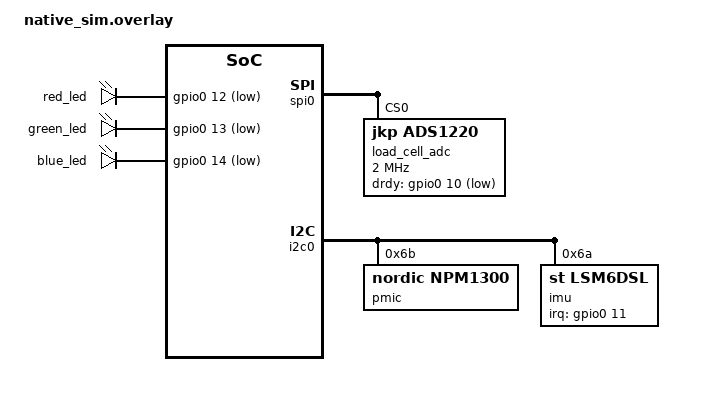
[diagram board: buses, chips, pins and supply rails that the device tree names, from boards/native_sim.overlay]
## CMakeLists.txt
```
# SPDX-License-Identifier: Apache-2.0

cmake_minimum_required(VERSION 3.20.0)

find_package(Zephyr REQUIRED HINTS $ENV{ZEPHYR_BASE})
project(app_main)

# Application code builds warning-free; dependencies keep their own flags.
# -Wno-psabi: GCC's note that Arm argument passing for some types (e.g. std::span)
# changed in GCC 7.1. It only matters when linking objects built by GCC 6 or older.
target_compile_options(app PRIVATE -Werror -Wno-psabi)

target_sources(app PRIVATE src/main.cpp)

# zbus channels: the contracts shared by every layer
add_subdirectory_ifdef(CONFIG_ZBUS src/channels)

# Modules: pure logic, no Zephyr
add_subdirectory(src/modules/calibration)
add_subdirectory(src/modules/progressor)

# Services: one subsystem or peripheral each, no thread of their own
add_subdirectory_ifdef(CONFIG_APP_IDENTITY_SVC src/services/identity_svc)
add_subdirectory_ifdef(CONFIG_APP_LOAD_CELL_SVC src/services/load_cell_svc)
add_subdirectory_ifdef(CONFIG_APP_BLE_SVC src/services/ble_svc)
add_subdirectory_ifdef(CONFIG_APP_PMIC_SVC src/services/pmic_svc)
add_subdirectory_ifdef(CONFIG_APP_MOTION_SVC src/services/motion_svc)
add_subdirectory_ifdef(CONFIG_APP_LED_SVC src/services/led_svc)

# Managers: own a thread and an event queue; the only callers of single-threaded services
add_subdirectory_ifdef(CONFIG_APP_MEASUREMENT_MANAGER src/managers/measurement_manager)
add_subdirectory_ifdef(CONFIG_APP_POWER_MANAGER src/managers/power_manager)

# Debug builds only (debug.conf)
add_subdirectory_ifdef(CONFIG_APP_DEBUG_SHELL src/debug_shell)
add_subdirectory_ifdef(CONFIG_APP_EMULATED_LOAD src/emulated_load)
```

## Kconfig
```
# SPDX-License-Identifier: Apache-2.0

menu "Zephyr"
source "Kconfig.zephyr"
endmenu

module = APP_MAIN
module-str = app_main
source "subsys/logging/Kconfig.template.log_config"

menu "Services"
rsource "src/services/identity_svc/Kconfig"
rsource "src/services/load_cell_svc/Kconfig"
rsource "src/services/ble_svc/Kconfig"
rsource "src/services/pmic_svc/Kconfig"
rsource "src/services/motion_svc/Kconfig"
rsource "src/services/led_svc/Kconfig"
endmenu

menu "Managers"
rsource "src/managers/measurement_manager/Kconfig"
rsource "src/managers/power_manager/Kconfig"
endmenu

rsource "src/debug_shell/Kconfig"
rsource "src/emulated_load/Kconfig"
```

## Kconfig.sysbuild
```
# SPDX-License-Identifier: Apache-2.0
#
# Sysbuild options. MCUboot on the XIAO only: native_sim builds have no bootloader.
# Images are signed with MCUboot's development key unless SB_CONFIG_BOOT_SIGNATURE_KEY_FILE
# names another (CI's release builds).

choice BOOTLOADER
	default BOOTLOADER_MCUBOOT if BOARD_XIAO_NRF54LM20A
endchoice

source "share/sysbuild/Kconfig"
```

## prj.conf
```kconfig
# C++23 without exceptions or RTTI. Full libstdc++ provides <expected>, <span>, ...
CONFIG_CPP=y
CONFIG_STD_CPP23=y
CONFIG_REQUIRES_FULL_LIBCPP=y
CONFIG_CPP_EXCEPTIONS=n
CONFIG_CPP_RTTI=n

# Settings (calibration, sample rate, device ID) in the storage partition. ZMS
# suits RRAM, which needs no erase.
CONFIG_FLASH=y
CONFIG_FLASH_MAP=y
CONFIG_ZMS=y
CONFIG_SETTINGS=y
CONFIG_SETTINGS_ZMS=y

# Seeds the random number generator (the device ID on first boot).
CONFIG_ENTROPY_GENERATOR=y

CONFIG_ZBUS=y

# The nPM1300 PMIC: its charger is a sensor driver (and configures charging at
# boot); ship mode goes through the regulator API.
CONFIG_SENSOR=y
CONFIG_REGULATOR=y

# The status LED (gpio-leds), and on the XIAO the nPM1300's LED pins.
CONFIG_LED=y

# The IMU (LSM6DS3TR-C, Zephyr's LSM6DSL driver with our motion-trigger patch)
# detects motion; its trigger handler runs on the system work queue.
CONFIG_LSM6DSL_TRIGGER_GLOBAL_THREAD=y

# Bluetooth LE peripheral, one connection, open (unpaired) GATT access, as a
# Tindeq Progressor. The name is set at boot from the device ID.
CONFIG_BT=y
CONFIG_BT_PERIPHERAL=y
CONFIG_BT_MAX_CONN=1
CONFIG_BT_DEVICE_NAME_DYNAMIC=y
CONFIG_BT_DEVICE_NAME="Progressor"

# Throughput for 1000 samples/s: up to 30 samples per notification (ATT MTU
# 247 in one 251-byte link-layer packet), on the 2M PHY. The stack asks for the
# longer packets and the 2M PHY on connection, and exchanges the MTU.
CONFIG_BT_L2CAP_TX_MTU=247
CONFIG_BT_BUF_ACL_RX_SIZE=251
CONFIG_BT_BUF_ACL_TX_SIZE=251
# Matches the controller's per-connection count (BT_CTLR_SDC_TX_PACKET_COUNT).
CONFIG_BT_BUF_ACL_TX_COUNT=3
# ATT buffers: the data point's notifications plus ble_svc's reserve (ble_svc.cpp).
CONFIG_BT_ATT_TX_COUNT=12
CONFIG_BT_AUTO_PHY_PERIPHERAL_2M=y
# Ask for the larger MTU ourselves: not every phone does (seen with the Tindeq
# app: 23 bytes, 2 samples per notification). The exchange is a GATT client
# procedure, which a peripheral may run too.
CONFIG_BT_GATT_CLIENT=y
CONFIG_BT_GATT_AUTO_UPDATE_MTU=y

# Standard Device Information and Battery services, for generic apps such as
# nRF Connect (the Tindeq app uses the Progressor service). The advertised name
# stays Progressor_NNNN, which the Tindeq app looks for. Firmware revision:
# app_main/VERSION.
CONFIG_BT_DIS=y
CONFIG_BT_DIS_MANUF_NAME_STR="JustKeepPulling"
CONFIG_BT_DIS_MODEL_NUMBER_STR="JustKeepPulling"
CONFIG_BT_DIS_FW_REV=y
CONFIG_BT_DIS_HW_REV=y
CONFIG_BT_DIS_PNP=n
CONFIG_BT_BAS=y

# Connection parameters once connected, as Crimpdeq when not measuring: 30-50 ms,
# latency 4, 4 s timeout. The stack requests them 5 s after connecting; the
# measurement manager asks for 15 ms while streaming.
CONFIG_BT_PERIPHERAL_PREF_MIN_INT=24
CONFIG_BT_PERIPHERAL_PREF_MAX_INT=40
CONFIG_BT_PERIPHERAL_PREF_LATENCY=4
CONFIG_BT_PERIPHERAL_PREF_TIMEOUT=400

# Name shown in the NCS boot banner
CONFIG_NCS_APPLICATION_BOOT_BANNER_STRING="app_main"

# Application components
CONFIG_APP_IDENTITY_SVC=y
CONFIG_APP_LOAD_CELL_SVC=y
CONFIG_APP_BLE_SVC=y
CONFIG_APP_PMIC_SVC=y
CONFIG_APP_MOTION_SVC=y
CONFIG_APP_LED_SVC=y
CONFIG_APP_MEASUREMENT_MANAGER=y
CONFIG_APP_POWER_MANAGER=y
```

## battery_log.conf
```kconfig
# Battery tests, on top of debug.conf: -DEXTRA_CONF_FILE="debug.conf;battery_log.conf"
# Every 5 s reading is logged (for scripts/battery_log.py), and the device never
# sleeps when idle.
CONFIG_APP_POWER_MANAGER_LOG_LEVEL_DBG=y
CONFIG_APP_POWER_MANAGER_IDLE_TIMEOUT_S=86400
CONFIG_APP_POWER_MANAGER_CONNECTED_IDLE_TIMEOUT_S=86400
```

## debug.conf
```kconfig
# Debug build: west build ... -- -DEXTRA_CONF_FILE=debug.conf
# Adds logging and the shell (on the console UART) with the "jkp" debug
# commands. The default build, without this file, is the release build: no
# logging and no shell.
CONFIG_LOG=y
CONFIG_SHELL=y
CONFIG_ASSERT=y
# The reset cause, logged at boot.
CONFIG_HWINFO=y
# A stack overflow faults instead of corrupting the memory next to it.
CONFIG_HW_STACK_PROTECTION=y

# The shell prints log messages itself; the console log backends would print each twice.
CONFIG_LOG_BACKEND_UART=n
CONFIG_LOG_BACKEND_NATIVE_POSIX=n
```

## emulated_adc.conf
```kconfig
CONFIG_EMUL=y
CONFIG_APP_EMULATED_LOAD=y
```

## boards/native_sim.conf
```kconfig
# The emulated ADS1220 (SPI emulator bus).
CONFIG_EMUL=y

# The default 100 Hz tick is too coarse to emulate 1000 conversions/s.
CONFIG_SYS_CLOCK_TICKS_PER_SEC=100000

# Bumble's virtual controller does not support host-to-controller ACL flow control.
CONFIG_BT_HCI_ACL_FLOW_CONTROL=n

# Nor the PHY update procedure: the controller never answers, which the host treats as fatal.
CONFIG_BT_AUTO_PHY_PERIPHERAL_NONE=y

# Hardware revision in the Device Information service.
CONFIG_BT_DIS_HW_REV_STR="native_sim"
```

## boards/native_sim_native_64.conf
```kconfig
# The emulated ADS1220 (SPI emulator bus).
CONFIG_EMUL=y

# The default 100 Hz tick is too coarse to emulate 1000 conversions/s.
CONFIG_SYS_CLOCK_TICKS_PER_SEC=100000

# Bumble's virtual controller does not support host-to-controller ACL flow control.
CONFIG_BT_HCI_ACL_FLOW_CONTROL=n

# Nor the PHY update procedure: the controller never answers, which the host treats as fatal.
CONFIG_BT_AUTO_PHY_PERIPHERAL_NONE=y
```

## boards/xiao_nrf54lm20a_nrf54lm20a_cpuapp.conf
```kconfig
CONFIG_FPU=y
CONFIG_FPU_SHARING=y

# Nordic's fuel gauge on the nPM1300's readings (power_manager); Arm builds only.
CONFIG_NRF_FUEL_GAUGE=y

# The board's pwm-leds would take the RGB LED's pins from gpio-leds.
CONFIG_LED_PWM=n

# SENSOR (for the PMIC's charger) also enables Zephyr's die temperature driver by default. Not used here.
CONFIG_TEMP_NRF5=n

# +9 dBm, as Crimpdeq: its measurements showed higher power coupling into the
# ADC as single-sample spikes (+20 dBm up to 1.4 kg, +9 dBm up to 0.12 kg, 0 dBm
# within the noise). Revisit once measured on this board.
CONFIG_BT_CTLR_TX_PWR_ANTENNA=9

# As Seeed's board: the nPM1300 regulators start after the charger (sensor
# init, 90), which raises the USB current limit from 100 mA. LDO1's inrush
# would otherwise trip the PMIC on USB power and the board would reset in a loop.
CONFIG_REGULATOR_NPM13XX_COMMON_INIT_PRIORITY=91
CONFIG_REGULATOR_NPM13XX_INIT_PRIORITY=92

# Idle sleep: System OFF, woken by the IMU's motion interrupt.
CONFIG_POWEROFF=y

# Hardware revision in the Device Information service.
CONFIG_BT_DIS_HW_REV_STR="XIAO nRF54LM20A"

# Firmware updates over Bluetooth (SMP, e.g. nRF Connect Device Manager), into
# MCUboot's second slot. Only images signed with our key are installed.
CONFIG_NCS_SAMPLE_MCUMGR_BT_OTA_DFU=y
# Not erasing the settings (calibration, device ID) from over the air.
CONFIG_MCUMGR_GRP_ZBASIC_STORAGE_ERASE=n
```

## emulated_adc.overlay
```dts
/* SPDX-License-Identifier: Apache-2.0 */

/* The ADS1220 emulator in place of the ADC; use with emulated_adc.conf. */

/delete-node/ &load_cell_adc;

/ {
	emul_spi: spi@ffff0000 {
		compatible = "zephyr,spi-emul-controller";
		reg = <0xffff0000 4>;
		clock-frequency = <2000000>;
		#address-cells = <1>;
		#size-cells = <0>;

		load_cell_adc: ads1220@0 {
			compatible = "jkp,ads1220";
			reg = <0>;
			spi-max-frequency = <2000000>;
			drdy-gpios = <&emul_gpio 0 GPIO_ACTIVE_LOW>;
			low-side-power-switch;
		};
	};

	emul_gpio: gpio-emul {
		compatible = "zephyr,gpio-emul";
		rising-edge;
		falling-edge;
		high-level;
		low-level;
		gpio-controller;
		#gpio-cells = <2>;
	};
};
```

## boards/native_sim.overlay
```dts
/* SPDX-License-Identifier: Apache-2.0 */

/ {
	aliases {
		load-cell-adc = &load_cell_adc;
		pmic-charger = &pmic_charger;
		pmic-regulators = &pmic_regulators;
		motion-sensor = &imu;
		status-led-red = &red_led;
		status-led-green = &green_led;
		status-led-blue = &blue_led;
	};

	/* The status LED on emulated GPIOs. */
	leds {
		compatible = "gpio-leds";

		red_led: red_led {
			gpios = <&gpio0 12 GPIO_ACTIVE_LOW>;
		};

		green_led: green_led {
			gpios = <&gpio0 13 GPIO_ACTIVE_LOW>;
		};

		blue_led: blue_led {
			gpios = <&gpio0 14 GPIO_ACTIVE_LOW>;
		};
	};
};

/* An emulated ADS1220 on native_sim's SPI emulator bus, /DRDY on an emulated GPIO. */

&spi0 {
	load_cell_adc: ads1220@0 {
		compatible = "jkp,ads1220";
		reg = <0>;
		spi-max-frequency = <2000000>;
		drdy-gpios = <&gpio0 10 GPIO_ACTIVE_LOW>;
		low-side-power-switch;
	};
};

/*
 * An emulated nPM1300 on native_sim's I2C emulator bus, configured as on the
 * XIAO; Zephyr's own drivers run against it. The battery reads 3750 mV.
 */
&i2c0 {
	pmic: npm1300@6b {
		compatible = "nordic,npm1300";
		reg = <0x6b>;

		pmic_charger: charger {
			compatible = "nordic,npm1300-charger";
			term-microvolt = <4200000>;
			current-microamp = <500000>;
			dischg-limit-microamp = <1000000>;
			vbus-limit-microamp = <500000>;
			/* No thermistor, as on the XIAO. */
			thermistor-ohms = <0>;
			thermistor-beta = <3380>;
			charging-enable;
		};

		pmic_regulators: regulators {
			compatible = "nordic,npm1300-regulator";
		};
	};

	/* The IMU, as on the XIAO: Zephyr's emulated LSM6DSL, initialized by the app. */
	imu: lsm6dsl@6a {
		compatible = "st,lsm6dsl";
		reg = <0x6a>;
		irq-gpios = <&gpio0 11 GPIO_ACTIVE_HIGH>;
		zephyr,deferred-init;
	};
};
```

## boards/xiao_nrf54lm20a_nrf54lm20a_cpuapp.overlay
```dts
/* SPDX-License-Identifier: Apache-2.0 */

#include <zephyr/dt-bindings/regulator/npm13xx.h>

/*
 * The XIAO's nPM1300 PMIC, as Seeed's current board files define it
 * (github.com/Seeed-Studio/platform-seeedboards, zephyr/nrf/boards/seeed/
 * xiao_nrf54lm20a). The copy of the board in this NCS version is older: wrong
 * PMIC I2C pins (P1.15/P1.16), LDO1 at 1.8 V and no BUCK2. Its bit-banged I2C
 * is kept, as Seeed's.
 */
/ {
	aliases {
		pmic-charger = &pmic_charger;
		pmic-regulators = &pmic_regulators;
		motion-sensor = &lsm6ds3tr_c;
		status-led-red = &red_led;
		status-led-green = &green_led;
		status-led-blue = &blue_led;
	};
};

/*
 * The RGB LED as Seeed's current board files have it: active low, red on
 * P1.22 and blue on P1.23 (NCS's copy has them active high and swapped).
 * The PWM LED nodes are not used here and are left as they are.
 */
&red_led {
	gpios = <&gpio1 22 GPIO_ACTIVE_LOW>;
};

&green_led {
	gpios = <&gpio1 24 GPIO_ACTIVE_LOW>;
};

&blue_led {
	gpios = <&gpio1 23 GPIO_ACTIVE_LOW>;
};

/*
 * The LSM6DS3TR-C IMU (i2c30, INT1 on P0.06) is powered by the PMIC's LDO1,
 * which starts after sensor init: the app initializes it later, as Seeed's IMU
 * sample does. INT1 also wakes the SoC from System OFF.
 */
&lsm6ds3tr_c {
	zephyr,deferred-init;
};

&pmic_i2c {
	sda-gpios = <&gpio1 18 GPIO_ACTIVE_HIGH>;
	scl-gpios = <&gpio1 17 GPIO_ACTIVE_HIGH>;
};

&pmic_charger {
	/* 1000 mAh LiPo (JLJLUP): 500 mA (0.5C, a standard LiPo charge rate) to 4.2 V, within the 500 mA USB budget. */
	term-microvolt = <4200000>;
	current-microamp = <500000>;
	/* The lower limit, for 5x finer battery current readings (0.22 mA) for the fuel gauge. */
	dischg-limit-microamp = <200000>;
	/*
	 * No battery thermistor assumed: the charger ignores its NTC input, so it
	 * charges without temperature limits (no cut-off below 0 C or above 45 C).
	 * Configured for one with none fitted, it would read an open NTC as a cold
	 * battery and never charge. With a 10 kOhm NTC (beta 3380, Seeed's board
	 * files' values), set those here. The beta is unused without one.
	 */
	thermistor-ohms = <0>;
	thermistor-beta = <3380>;
};

&pmic {
	/* Labelled for ship mode, which goes through the regulators' parent device. */
	pmic_regulators: regulators {
		/* VSYS_3V3: powers the nRF54LM20A. */
		vsys_3v3: BUCK2 {
			regulator-always-on;
			regulator-min-microvolt = <3300000>;
			regulator-max-microvolt = <3300000>;
		};

		/* Powers the IMU and the PDM microphone. */
		LDO1 {
			regulator-init-microvolt = <3300000>;
			regulator-min-microvolt = <3300000>;
			regulator-max-microvolt = <3300000>;
			regulator-initial-mode = <NPM13XX_LDSW_MODE_LDO>;
			regulator-allowed-modes = <NPM13XX_LDSW_MODE_LDO>;
			regulator-boot-on;
		};
	};

	/* As Seeed's board, but LED1 (the red charge LED) shows charging. */
	pmic_leds: leds {
		compatible = "nordic,npm1300-led";
		nordic,led0-mode = "error";
		nordic,led1-mode = "charging";
		nordic,led2-mode = "host";
	};
};

/*
 * ADS1220 load-cell ADC on the XIAO SPI (SCK P1.04, MOSI P1.06, MISO P1.05),
 * /CS on P1.00 (D0) and /DRDY on P1.31 (D1). Ratiometric: REFP0/REFN0 across
 * the bridge excitation; bridge signal on AIN1/AIN2; bridge returned through
 * AIN3/REFN1 so the low-side switch cuts it while powered down.
 */
/ {
	aliases {
		load-cell-adc = &load_cell_adc;
	};
};

&spi23 {
	cs-gpios = <&gpio1 0 GPIO_ACTIVE_LOW>;

	/*
	 * Wire its supply to an always-on rail (BUCK2's 3.3 V, which powers the
	 * nRF54), not a PMIC-switched one such as LDO1: it initializes (POST_KERNEL
	 * 80) before the PMIC's regulators (91/92), and powers itself down between
	 * measurements.
	 */
	load_cell_adc: ads1220@0 {
		compatible = "jkp,ads1220";
		reg = <0>;
		spi-max-frequency = <2000000>;
		drdy-gpios = <&gpio1 31 GPIO_ACTIVE_LOW>;
		low-side-power-switch;
	};
};

/*
 * Nordic's SoftDevice Controller, as on Nordic's own nRF54LM20 DK. Seeed's
 * board picks Zephyr's experimental software link layer, which conflicts with it.
 * The SoftDevice Controller's MPSL also needs the clock sources the DK enables
 * and Seeed's board leaves disabled (the XIAO has both crystals).
 */
/ {
	chosen {
		zephyr,bt-hci = &bt_hci_sdc;
	};
};

&bt_hci_controller {
	status = "disabled";
};

&xo {
	status = "okay";
};

&lfclk {
	status = "okay";
};

&xo24m {
	status = "okay";
};
```

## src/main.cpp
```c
/**
 * @file main.cpp
 * @brief app_main entry point: a Tindeq Progressor-compatible finger-strength dynamometer.
 *
 * SPDX-License-Identifier: Apache-2.0
 */

#include "ble_svc.hpp"
#include "identity_svc.hpp"
#include "led_svc.hpp"
#include "load_cell_svc.hpp"
#include "measurement_manager.hpp"
#include "motion_svc.hpp"
#include "pmic_svc.hpp"
#include "power_manager.hpp"

#include <zephyr/app_version.h>
#include <zephyr/logging/log.h>
#if defined( CONFIG_BOOTLOADER_MCUBOOT )
#include <zephyr/dfu/mcuboot.h>
#endif
#if defined( CONFIG_HWINFO )
#include <zephyr/drivers/hwinfo.h>
#endif

#include <array>
#include <cmath>
#include <cstdint>
#include <fw/settings.hpp>

LOG_MODULE_REGISTER( app_main, CONFIG_APP_MAIN_LOG_LEVEL );

#if defined( CONFIG_HWINFO )
namespace
{

/** @brief Debug builds: why the chip reset, cleared so the next boot shows only its own. */
void log_reset_cause()
{
    std::uint32_t cause = 0;
    if( hwinfo_get_reset_cause( &cause ) != 0 ) {
        return;
    }
    struct Name {
        std::uint32_t bit;
        const char *name;
    };
    constexpr std::array names{ Name{ .bit = RESET_POR, .name = "power-on" },
                                Name{ .bit = RESET_PIN, .name = "reset pin" },
                                Name{ .bit = RESET_SOFTWARE, .name = "software" },
                                Name{ .bit = RESET_BROWNOUT, .name = "brownout" },
                                Name{ .bit = RESET_WATCHDOG, .name = "watchdog" },
                                Name{ .bit = RESET_DEBUG, .name = "debugger" },
                                Name{ .bit = RESET_LOW_POWER_WAKE, .name = "wake from System OFF" },
                                Name{ .bit = RESET_CPU_LOCKUP, .name = "CPU lockup" } };
    LOG_INF( "reset cause 0x%08x", cause );
    for( auto const &[bit, name] : names ) {
        if( ( cause & bit ) != 0U ) {
            LOG_INF( "reset cause: %s", name );
        }
    }
    (void)hwinfo_clear_reset_cause();
}

} // namespace
#endif

int main()
{
    LOG_INF( "app_main v%s", APP_VERSION_STRING );
#if defined( CONFIG_HWINFO )
    log_reset_cause();
#endif

    if( auto ret = fw::settings::init(); !ret ) {
        LOG_ERR( "settings init failed: %d", fw::err::to_zephyr( ret.error() ) );
    }

    if( auto ret = identity_svc::identity().init(); !ret ) {
        LOG_ERR( "identity init failed: %d", fw::err::to_zephyr( ret.error() ) );
    }

    auto const load_cell_ready = load_cell_svc::load_cell().init();
    if( !load_cell_ready ) {
        LOG_ERR( "load cell init failed: %d", fw::err::to_zephyr( load_cell_ready.error() ) );
    } else {
        LOG_INF( "calibration: %ld ug per code", std::lround( load_cell_svc::load_cell().calibration_factor() * 1e6F ) );
    }

    // Without the LED the device still works; it just doesn't show its state.
    if( auto ret = led_svc::led().init(); !ret ) {
        LOG_ERR( "LED init failed: %d", fw::err::to_zephyr( ret.error() ) );
    }

    // Without the IMU the device still measures; it then only wakes from idle sleep on a power cycle.
    if( auto ret = motion_svc::motion().init(); !ret ) {
        LOG_ERR( "motion init failed: %d", fw::err::to_zephyr( ret.error() ) );
    }

    // Without the PMIC the device still measures; only battery reports and low-battery power-off are lost.
    auto const pmic_ready = pmic_svc::pmic().init();
    if( !pmic_ready ) {
        LOG_ERR( "PMIC init failed: %d", fw::err::to_zephyr( pmic_ready.error() ) );
    }
    if( auto started = power_manager::start( pmic_ready.has_value() ); !started ) {
        LOG_ERR( "first battery reading failed: %d", fw::err::to_zephyr( started.error() ) );
    }

    // Without the load cell there is nothing to measure: the device still
    // advertises, so it can be found (device information, battery), but Progressor commands
    // and calibration requests go unanswered. Before Bluetooth, so the manager
    // observes the first command.
    if( load_cell_ready ) {
        if( auto ret = measurement_manager::start(); !ret ) {
            LOG_ERR( "measurement manager start failed: %d", fw::err::to_zephyr( ret.error() ) );
        }
    }

    if( auto ret = ble_svc::init(); !ret ) {
        LOG_ERR( "BLE service init failed: %d", fw::err::to_zephyr( ret.error() ) );
        return 0;
    }

#if defined( CONFIG_BOOTLOADER_MCUBOOT )
    // A new image runs on trial until here: if it fails before, MCUboot goes back to the previous one at the next reset.
    if( !boot_is_img_confirmed() ) {
        if( auto ret = fw::err::check( boot_write_img_confirmed() ); ret ) {
            LOG_INF( "new firmware confirmed" );
        } else {
            LOG_ERR( "new firmware not confirmed, the previous one returns at the next reset: %d", fw::err::to_zephyr( ret.error() ) );
        }
    }
#endif

    return 0;
}
```
